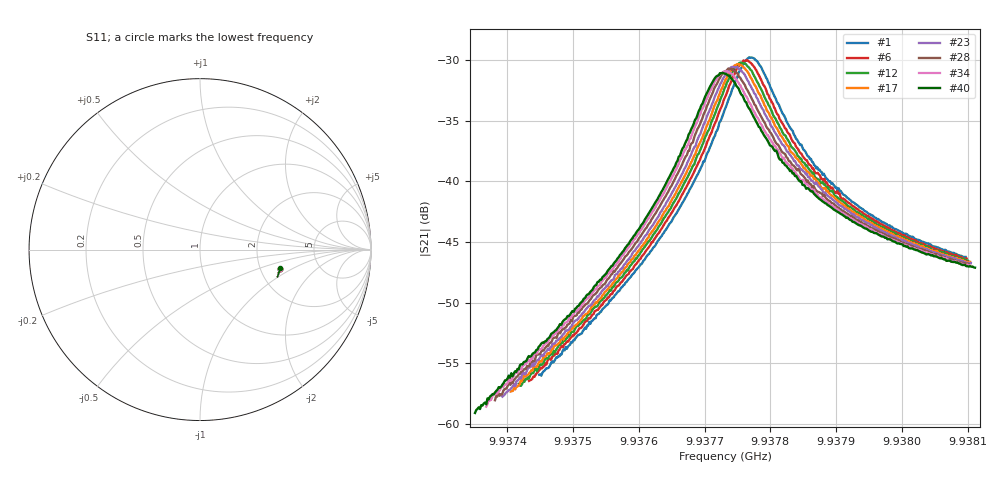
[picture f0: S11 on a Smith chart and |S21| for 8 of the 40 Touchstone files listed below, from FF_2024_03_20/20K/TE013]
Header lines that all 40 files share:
#  HZ  S  RI  R  50.00
! Rohde & Schwarz Vector Network Analyzer
! Rohde-Schwarz,ZNB20-2Port,1311601062101988,3.16
! freq[Hz]  re:S11  im:S11  re:S21  im:S21  re:S12  im:S12  re:S22  im:S22
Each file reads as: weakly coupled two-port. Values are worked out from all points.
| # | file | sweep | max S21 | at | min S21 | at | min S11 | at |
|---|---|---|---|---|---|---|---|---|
| 1 | 120_3_16.9999_20.5120468_31056.238_324.9217698574066_.s2p | 9.9374484 GHz to 9.938097 GHz | -29.78 dB | 9.9377678 GHz | -56.0 dB | 9.9374516 GHz | -6.4 dB | 9.9377695 GHz |
| 2 | 121_3_16.9998_20.5075474_31296.182_327.31584072113037_.s2p | 9.9374496 GHz to 9.938095 GHz | -29.81 dB | 9.9377707 GHz | -56.0 dB | 9.9374496 GHz | -6.4 dB | 9.9377675 GHz |
| 3 | 122_3_16.9997_20.5043926_32137.506_335.6288824081421_.s2p | 9.9374433 GHz to 9.9381 GHz | -29.94 dB | 9.9377684 GHz | -56.1 dB | 9.9374433 GHz | -6.4 dB | 9.9377667 GHz |
| 4 | 123_3_16.9991_20.490406_32398.135_338.14063000679016_.s2p | 9.9374388 GHz to 9.9380986 GHz | -29.98 dB | 9.9377638 GHz | -56.2 dB | 9.9374404 GHz | -6.4 dB | 9.9377638 GHz |
| 5 | 124_3_16.9996_20.4856472_32618.686_340.5935399532318_.s2p | 9.9374315 GHz to 9.9381016 GHz | -29.98 dB | 9.9377632 GHz | -56.6 dB | 9.9374315 GHz | -6.4 dB | 9.9377632 GHz |
| 6 | 125_3_16.9997_20.4830647_32889.734_342.98835921287537_.s2p | 9.937433 GHz to 9.9380985 GHz | -30.00 dB | 9.9377641 GHz | -56.4 dB | 9.937433 GHz | -6.4 dB | 9.9377591 GHz |
| 7 | 126_3_17.0004_20.4779415_33110.766_345.4061589241028_.s2p | 9.9374336 GHz to 9.9380961 GHz | -30.06 dB | 9.9377599 GHz | -56.4 dB | 9.9374336 GHz | -6.4 dB | 9.9377582 GHz |
| 8 | 127_3_16.9999_20.4734554_33361.465_347.81672525405884_.s2p | 9.9374296 GHz to 9.9380977 GHz | -30.07 dB | 9.9377603 GHz | -56.5 dB | 9.9374313 GHz | -6.4 dB | 9.9377603 GHz |
| 9 | 128_3_16.9996_20.4705086_33602.188_350.2509813308716_.s2p | 9.9374256 GHz to 9.9381002 GHz | -30.15 dB | 9.9377612 GHz | -56.8 dB | 9.9374256 GHz | -6.4 dB | 9.9377578 GHz |
| 10 | 129_3_16.9993_20.4657936_33843.227_352.6576097011566_.s2p | 9.9374227 GHz to 9.9381004 GHz | -30.16 dB | 9.9377565 GHz | -56.7 dB | 9.9374244 GHz | -6.4 dB | 9.9377565 GHz |
| 11 | 130_3_16.9999_20.4617462_34093.969_355.09011030197144_.s2p | 9.9374214 GHz to 9.9380999 GHz | -30.18 dB | 9.937759 GHz | -56.8 dB | 9.9374214 GHz | -6.4 dB | 9.9377522 GHz |
| 12 | 131_3_16.9993_20.458437_34324.676_357.5001320838928_.s2p | 9.9374173 GHz to 9.9381021 GHz | -30.22 dB | 9.9377546 GHz | -56.8 dB | 9.9374207 GHz | -6.4 dB | 9.937758 GHz |
| 13 | 132_3_16.9998_20.4553604_34555.18_359.94082832336426_.s2p | 9.937416 GHz to 9.9381009 GHz | -30.25 dB | 9.9377551 GHz | -57.2 dB | 9.937416 GHz | -6.4 dB | 9.9377482 GHz |
| 14 | 133_3_16.9984_20.4527531_34805.781_362.35123586654663_.s2p | 9.9374112 GHz to 9.9381043 GHz | -30.27 dB | 9.937756 GHz | -57.2 dB | 9.9374112 GHz | -6.4 dB | 9.9377473 GHz |
| 15 | 134_3_16.9995_20.4481773_35067.133_364.7946717739105_.s2p | 9.9374113 GHz to 9.9381019 GHz | -30.32 dB | 9.9377514 GHz | -57.1 dB | 9.9374113 GHz | -6.4 dB | 9.9377462 GHz |
| 16 | 135_3_16.9988_20.4437027_35307.953_367.19089102745056_.s2p | 9.9374094 GHz to 9.9381012 GHz | -30.35 dB | 9.9377536 GHz | -57.2 dB | 9.9374094 GHz | -6.4 dB | 9.9377484 GHz |
| 17 | 136_3_16.9999_20.4399624_35538.316_369.6123414039612_.s2p | 9.9374049 GHz to 9.9381041 GHz | -30.35 dB | 9.937751 GHz | -57.3 dB | 9.9374049 GHz | -6.4 dB | 9.9377458 GHz |
| 18 | 137_3_16.9987_20.4357243_35779.027_372.038370847702_.s2p | 9.9374085 GHz to 9.9380989 GHz | -30.38 dB | 9.937752 GHz | -57.2 dB | 9.9374085 GHz | -6.4 dB | 9.9377468 GHz |
| 19 | 138_3_17.0005_20.4325886_36039.328_374.47616147994995_.s2p | 9.9374071 GHz to 9.9380976 GHz | -30.44 dB | 9.9377455 GHz | -57.2 dB | 9.9374071 GHz | -6.4 dB | 9.9377489 GHz |
| 20 | 139_3_17.0008_20.4284897_36270.355_376.8983037471771_.s2p | 9.9373978 GHz to 9.9381047 GHz | -30.47 dB | 9.9377495 GHz | -57.6 dB | 9.9373996 GHz | -6.4 dB | 9.9377442 GHz |
| 21 | 140_3_17.0_20.4246864_36511.492_379.3109142780304_.s2p | 9.9373996 GHz to 9.9381013 GHz | -30.47 dB | 9.9377452 GHz | -57.5 dB | 9.9374014 GHz | -6.4 dB | 9.9377434 GHz |
| 22 | 141_3_16.9994_20.4213219_36772.195_381.748806476593_.s2p | 9.9373967 GHz to 9.9381025 GHz | -30.53 dB | 9.9377461 GHz | -57.6 dB | 9.9373967 GHz | -6.4 dB | 9.9377373 GHz |
| 23 | 142_3_16.9999_20.41716_37012.75_384.16985416412354_.s2p | 9.9373924 GHz to 9.9381051 GHz | -30.57 dB | 9.9377416 GHz | -57.7 dB | 9.9373924 GHz | -6.4 dB | 9.9377416 GHz |
| 24 | 143_3_16.9996_20.4134617_37243.16_386.5913121700287_.s2p | 9.9373885 GHz to 9.9381071 GHz | -30.56 dB | 9.9377478 GHz | -57.9 dB | 9.9373885 GHz | -6.4 dB | 9.9377424 GHz |
| 25 | 144_3_17.0003_20.4092007_38066.648_394.61104130744934_.s2p | 9.9373917 GHz to 9.9381019 GHz | -30.65 dB | 9.9377415 GHz | -57.6 dB | 9.9373952 GHz | -6.4 dB | 9.9377361 GHz |
| 26 | 145_3_17.0005_20.3968906_38307.121_397.0248885154724_.s2p | 9.9373818 GHz to 9.9381062 GHz | -30.71 dB | 9.9377404 GHz | -58.1 dB | 9.9373818 GHz | -6.4 dB | 9.9377313 GHz |
| 27 | 146_3_16.9999_20.3928032_38527.84_399.4468274116516_.s2p | 9.9373791 GHz to 9.9381066 GHz | -30.70 dB | 9.937741 GHz | -58.4 dB | 9.9373791 GHz | -6.4 dB | 9.9377356 GHz |
| 28 | 147_3_16.9993_20.3880844_38758.832_401.8691713809967_.s2p | 9.9373812 GHz to 9.9381021 GHz | -30.71 dB | 9.9377362 GHz | -58.0 dB | 9.9373812 GHz | -6.4 dB | 9.9377326 GHz |
| 29 | 148_3_16.9996_20.3845596_39009.387_404.28815841674805_.s2p | 9.9373798 GHz to 9.9381014 GHz | -30.78 dB | 9.937737 GHz | -58.2 dB | 9.9373798 GHz | -6.4 dB | 9.937737 GHz |
| 30 | 149_3_16.9996_20.3800468_39270.145_406.71525263786316_.s2p | 9.9373728 GHz to 9.9381064 GHz | -30.77 dB | 9.9377378 GHz | -58.3 dB | 9.9373747 GHz | -6.4 dB | 9.937736 GHz |
| 31 | 150_3_16.9986_20.3778877_39510.797_409.1360936164856_.s2p | 9.9373767 GHz to 9.9381014 GHz | -30.83 dB | 9.9377372 GHz | -58.1 dB | 9.9373803 GHz | -6.4 dB | 9.9377336 GHz |
| 32 | 151_3_17.0008_20.3737068_39741.965_411.5947005748749_.s2p | 9.9373691 GHz to 9.9381063 GHz | -30.87 dB | 9.9377377 GHz | -58.4 dB | 9.9373746 GHz | -6.4 dB | 9.9377248 GHz |
| 33 | 152_3_17.0_20.3694248_39992.414_414.02538895606995_.s2p | 9.9373649 GHz to 9.9381087 GHz | -30.84 dB | 9.9377312 GHz | -58.5 dB | 9.9373649 GHz | -6.4 dB | 9.9377312 GHz |
| 34 | 153_3_16.9978_20.365448_40242.879_416.4599726200104_.s2p | 9.9373679 GHz to 9.938104 GHz | -30.93 dB | 9.9377323 GHz | -58.6 dB | 9.9373679 GHz | -6.4 dB | 9.9377304 GHz |
| 35 | 154_3_17.0001_20.3613186_40483.195_418.87252378463745_.s2p | 9.937363 GHz to 9.938107 GHz | -30.91 dB | 9.9377313 GHz | -58.7 dB | 9.937363 GHz | -6.4 dB | 9.9377331 GHz |
| 36 | 155_3_17.0002_20.356842_40744.902_421.2953279018402_.s2p | 9.9373638 GHz to 9.9381039 GHz | -30.96 dB | 9.9377339 GHz | -58.5 dB | 9.9373638 GHz | -6.4 dB | 9.9377302 GHz |
| 37 | 156_3_17.0002_20.3526363_40966.02_423.70335960388184_.s2p | 9.9373606 GHz to 9.9381051 GHz | -30.99 dB | 9.9377291 GHz | -58.7 dB | 9.9373624 GHz | -6.4 dB | 9.9377235 GHz |
| 38 | 157_3_17.0008_20.3493576_41216.867_426.14670395851135_.s2p | 9.9373607 GHz to 9.9381053 GHz | -31.00 dB | 9.9377293 GHz | -58.8 dB | 9.9373607 GHz | -6.4 dB | 9.9377218 GHz |
| 39 | 158_3_17.0003_20.3459454_41457.117_428.5855851173401_.s2p | 9.9373574 GHz to 9.938107 GHz | -31.07 dB | 9.9377285 GHz | -58.8 dB | 9.9373611 GHz | -6.4 dB | 9.9377322 GHz |
| 40 | 159_3_16.9999_20.3407478_41688.359_431.0519189834595_.s2p | 9.9373508 GHz to 9.9381114 GHz | -31.06 dB | 9.9377273 GHz | -59.1 dB | 9.9373508 GHz | -6.4 dB | 9.9377197 GHz |
